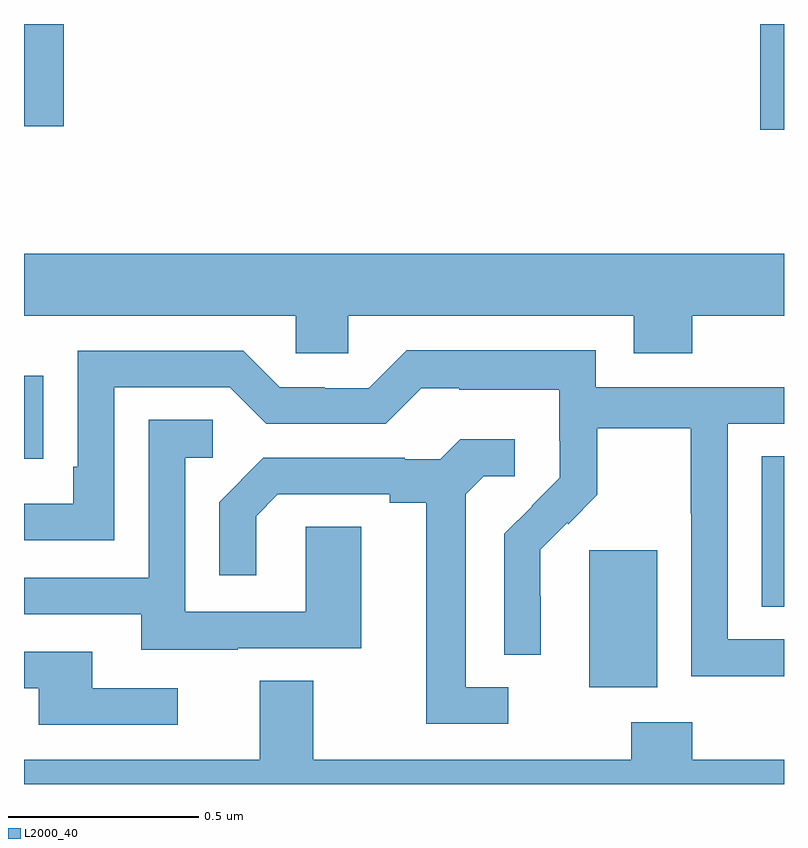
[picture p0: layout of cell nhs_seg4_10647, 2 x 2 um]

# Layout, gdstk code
import gdstk
lib = gdstk.Library(unit=1e-6, precision=1e-09)
def R(c, l, rs):  # rectangles x0, y0, x1, y1
    for r in rs: c.add(gdstk.rectangle(r[:2], r[2:], *l))
def P(c, l, *ps):  # polygons
    for p in ps: c.add(gdstk.Polygon(p, *l))
L2000_40 = (2000, 40)

nhs_seg4_10647 = lib.new_cell('nhs_seg4_10647')
R(nhs_seg4_10647, L2000_40, [(243.488,817.154,243.667,817.515), (243.941,817.366,244,817.763), (242,817.756,242.051,817.975), (243.938,818.622,244,818.9), (242,818.631,242.105,818.9)])
P(nhs_seg4_10647, L2000_40, [(243.758,818.132),(244,818.132),(244,818.296),(242,818.296),(242,818.132),(242.715,818.132),(242.715,818.034),(242.853,818.034),(242.853,818.132),(243.605,818.132),(243.605,818.033),(243.758,818.033)],
  [(244,817.281),(243.852,817.281),(243.852,817.848),(244,817.848),(244,817.944),(243.504,817.944),(243.504,818.041),(243.007,818.041),(242.907,817.941),(242.792,817.941),(242.792,817.944),(242.673,817.944),(242.577,818.04),(242.142,818.04),(242.142,817.735),(242.129,817.735),(242.129,817.638),(242,817.638),(242,817.542),(242.238,817.542),(242.238,817.944),(242.541,817.944),(242.637,817.848),(242.952,817.848),(243.045,817.941),(243.145,817.941),(243.145,817.937),(243.408,817.937),(243.408,817.803),(243.41,817.803),(243.41,817.706),(243.336,817.632),(243.337,817.631),(243.264,817.558),(243.264,817.24),(243.36,817.24),(243.36,817.394),(243.359,817.394),(243.359,817.517),(243.429,817.587),(243.432,817.584),(243.509,817.661),(243.509,817.836),(243.754,817.836),(243.754,817.612),(243.756,817.612),(243.756,817.183),(244,817.183)],
  [(242.563,817.257),(242.887,817.257),(242.887,817.577),(242.742,817.577),(242.742,817.353),(242.424,817.353),(242.424,817.758),(242.497,817.758),(242.497,817.859),(242.328,817.859),(242.328,817.443),(242,817.443),(242,817.347),(242.309,817.347),(242.309,817.253),(242.563,817.253)],
  [(243.274,817.155),(243.163,817.155),(243.163,817.663),(243.21,817.71),(243.292,817.71),(243.292,817.807),(243.148,817.807),(243.096,817.755),(243.002,817.755),(243.002,817.758),(242.63,817.758),(242.514,817.642),(242.514,817.449),(242.611,817.449),(242.611,817.605),(242.668,817.662),(242.963,817.662),(242.963,817.64),(243.059,817.64),(243.059,817.059),(243.274,817.059)],
  [(242.404,817.152),(242.179,817.152),(242.179,817.248),(242,817.248),(242,817.152),(242.039,817.152),(242.039,817.056),(242.404,817.056)],
  [(244,816.964),(243.758,816.964),(243.758,817.063),(243.598,817.063),(243.598,816.964),(242.761,816.964),(242.761,817.172),(242.621,817.172),(242.621,816.964),(242,816.964),(242,816.9),(244,816.9)])

lib.write_gds('nhs_seg4_10647.gds')
